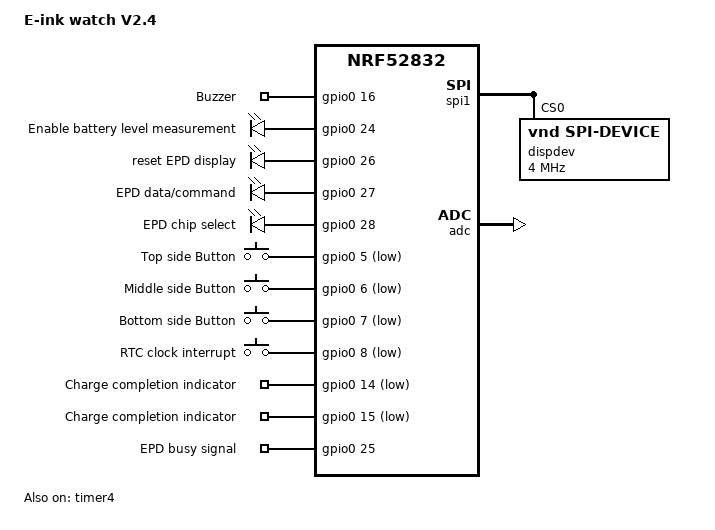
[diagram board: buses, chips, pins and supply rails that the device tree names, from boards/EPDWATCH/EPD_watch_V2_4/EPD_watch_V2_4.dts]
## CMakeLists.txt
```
cmake_minimum_required(VERSION 3.20.0)
find_package(Zephyr REQUIRED HINTS $ENV{ZEPHYR_BASE})

project(watch)

FILE(GLOB app_sources include/*.h)
target_include_directories(app PRIVATE include)

target_sources(app PRIVATE 
        src/main.cpp
        src/display.cpp
        src/display_font.cpp
        src/display_shapes.cpp
        src/io.cpp
        src/pages.cpp
)
```

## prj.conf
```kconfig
CONFIG_GPIO=y
CONFIG_I2C=y
CONFIG_SPI=y
CONFIG_NRFX_GPIOTE=y

CONFIG_LOG=y
CONFIG_USE_SEGGER_RTT=y
CONFIG_RTT_CONSOLE=y
CONFIG_LOG_DEFAULT_LEVEL=3
```

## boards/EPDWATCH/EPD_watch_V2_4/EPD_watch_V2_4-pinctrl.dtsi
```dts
&pinctrl
{
    spi1_default: spi1_default
    {
        group1
        {
            psels = <NRF_PSEL(SPIM_SCK,  0, 29)>,
                    <NRF_PSEL(SPIM_MOSI, 0, 30)>,
                    <NRF_PSEL(SPIM_MISO, 0, 22)>;
        };
    };

    spi1_sleep: spi1_sleep
    {
        group1
        {
            psels = <NRF_PSEL(SPIM_SCK,  0, 29)>,
                    <NRF_PSEL(SPIM_MOSI, 0, 30)>,
                    <NRF_PSEL(SPIM_MISO, 0, 22)>;
            low-power-enable;
        };
    };

	i2c0_default: i2c0_default
	{
		group1
		{
			psels = <NRF_PSEL(TWIM_SDA, 0, 11)>,
					<NRF_PSEL(TWIM_SCL, 0, 12)>;
		};
	};

	i2c0_sleep: i2c0_sleep
	{
		group1
		{
			psels = <NRF_PSEL(TWIM_SDA, 0, 11)>,
					<NRF_PSEL(TWIM_SCL, 0, 12)>;
			low-power-enable;
		};
	};
};
```

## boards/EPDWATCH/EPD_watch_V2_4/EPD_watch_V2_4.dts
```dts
/dts-v1/;

#include <nordic/nrf52832_qfaa.dtsi>
#include "EPD_watch_V2_4-pinctrl.dtsi"
#include <zephyr/dt-bindings/input/input-event-codes.h>

/ {
	model = "E-ink watch V2.4";
	compatible = "EPDWATCH,EPD-watch-V2-4";

	chosen
	{
		zephyr,sram = &sram0;
		zephyr,flash = &flash0;
		zephyr,code-partition = &slot0_partition;
	};

	leds
	{
		compatible = "gpio-leds";

		buzzer: buzzer
		{
			gpios = <&gpio0 16 (GPIO_PUSH_PULL & GPIO_ACTIVE_HIGH)>;
			label = "Buzzer";
		};

		batt_lvl_en: batt_lvl_en
		{
			gpios = <&gpio0 24 (GPIO_PUSH_PULL & GPIO_ACTIVE_HIGH)>;
			label = "Enable battery level measurement";
		};

		disp_rst: disp_rst
		{
			gpios = <&gpio0 26 (GPIO_PUSH_PULL & GPIO_ACTIVE_HIGH)>;
			label = "reset EPD display";
		};

		disp_dc: disp_dc
		{
			gpios = <&gpio0 27 (GPIO_PUSH_PULL & GPIO_ACTIVE_HIGH)>;
			label = "EPD data/command";
		};


		disp_cs: disp_cs
		{
			gpios = <&gpio0 28 (GPIO_PUSH_PULL & GPIO_ACTIVE_HIGH)>;
			label = "EPD chip select";
		};
	};

    buttons
	{
        compatible = "gpio-keys";

        btn_up: btn_up
		{
            gpios = <&gpio0 5 (GPIO_PULL_UP | GPIO_ACTIVE_LOW)>;
            label = "Top side Button";
        };

        btn_mid: btn_mid
		{
            gpios = <&gpio0 6 (GPIO_PULL_UP | GPIO_ACTIVE_LOW)>;
            label = "Middle side Button";
        };

        btn_dwn: btn_dwn
		{
            gpios = <&gpio0 7 (GPIO_PULL_UP | GPIO_ACTIVE_LOW)>;
            label = "Bottom side Button";
        };



        rtc_int: rtc_int
		{
            gpios = <&gpio0 8 (GPIO_PULL_UP | GPIO_ACTIVE_LOW)>;
            label = "RTC clock interrupt";
        };

        chrg_complete: chrg_complete
		{
            gpios = <&gpio0 14 (GPIO_PULL_UP | GPIO_ACTIVE_LOW)>;
            label = "Charge completion indicator";
        };

        chrg_active: chrg_active
		{
            gpios = <&gpio0 15 (GPIO_PULL_UP | GPIO_ACTIVE_LOW)>;
            label = "Charge completion indicator";
        };



        disp_busy: disp_busy
		{
            gpios = <&gpio0 25 (GPIO_ACTIVE_HIGH)>;
            label = "EPD busy signal";
        };
    };
};

&gpiote
{
	status = "okay";
};

&gpio0
{
	status = "okay";
};

&spi1
{
    status = "okay";
    pinctrl-0 = <&spi1_default>;
    pinctrl-1 = <&spi1_sleep>;
    pinctrl-names = "default", "sleep";

    dispdev: dispdev@0
    {
        compatible = "vnd,spi-device";
        reg = <0>;
    	spi-max-frequency = <4000000>;
    };
};

&timer4
{
	status = "okay";
};

&adc
{
	compatible = "nordic,nrf-saadct";
	status = "okay";
	timer-instance = <&timer4>;
	#address-cells = <1>;
	#size-cells = <0>;
};

&flash0
{
	partitions
	{
		#address-cells = <1>;
		#size-cells = <1>;
		ranges;

		boot_partition: partition@0
		{
			compatible = "zephyr,mapped-partition";
			label = "mcuboot";
			reg = <0x0 DT_SIZE_K(48)>;
		};

		slot0_partition: partition@c000
		{
			compatible = "zephyr,mapped-partition";
			label = "image-0";
			reg = <0xc000 DT_SIZE_K(220)>;
		};

		slot1_partition: partition@43000
		{
			compatible = "zephyr,mapped-partition";
			label = "image-1";
			reg = <0x43000 DT_SIZE_K(220)>;
		};

		storage_partition: partition@7a000
		{
			compatible = "zephyr,mapped-partition";
			label = "storage";
			reg = <0x7a000 DT_SIZE_K(24)>;
		};
	};
};
```

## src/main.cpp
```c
#include "display.hpp"
#include "io.hpp"

#include <zephyr/kernel.h>

#include <zephyr/logging/log.h>
LOG_MODULE_REGISTER(main);

int main(void)
{
    LOG_INF("Watch turned on");
    Display disp;
    if (!disp.bootup_check()) {return -1;}

    while(true)
    {
        k_msleep(1000);
        LOG_INF("Watch loop");
        disp.prep_clean_update();
        disp.wake();
        disp.update();
        disp.sleep();
        k_msleep(10000);
    }

    return 0;
}
```

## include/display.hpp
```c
#ifndef _DISPLAY_HPP_
#define _DISPLAY_HPP_

#include <string.h>
#include <zephyr/types.h>

enum Anchor 
{
    AnchorLeft,
    AnchorCenter,
    AnchorRight
}; 

enum Direction 
{
    DirUp,
    DirRight,
    DirDown,
    DirLeft
}; 

#define SIZE 200
#define BUFFSIZE SIZE*((SIZE+7)/8)
#define MAX_LOOPS 200


class Display 
{
public:
    Display();
    bool bootup_check();

    bool wake();
    void sleep();
    bool update();

    void prep_clean_update();

    // uint16_t get_text_width(const char* text, uint8_t scale);
    // bool draw_text(const char* text, uint8_t x, uint8_t y, uint8_t scale, Anchor anchor);

    // bool draw_line(uint8_t x1, uint8_t y1, uint8_t x2, uint8_t y2);
    // bool draw_rect(uint8_t x, uint8_t y, uint8_t x2, uint8_t y2);
    // bool draw_arrow(uint8_t x, uint8_t y, uint8_t scale, Direction arrow_dir);


private:
    void set_bit(uint16_t index, uint8_t bit_index);
    bool get_bit(uint16_t index, uint8_t bit_index);
    bool wait_busy();

    bool send_cmd(uint8_t cmd);
    bool send_data_byte(uint8_t data);
    bool send_data_buffer(const uint8_t* data, uint16_t size);

    uint8_t get_letter_width(char letter);
    uint16_t get_letter_buff_index(char letter);
    
    static uint8_t buffer_a[BUFFSIZE];
    static uint8_t buffer_b[BUFFSIZE];
    static uint8_t* buffer_curr;
    static uint8_t* buffer_old;
    bool sleeping;
    bool initialized;
    bool clean_update;
};

#endif
```

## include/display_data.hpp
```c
#ifndef _DISPLAY_DATA_HPP_
#define _DISPLAY_DATA_HPP_

const uint8_t LUT_ARR_DC[56] =
{
    0x01, 0x04, 0x04, 0x03, 0x01, 0x01, 0x01, 0x00, 0x00, 0x00, 0x00, 0x00, 
    0x01, 0x00, 0x00, 0x00, 0x00, 0x00, 0x00, 0x00, 0x00, 0x00, 0x00, 0x00, 
    0x00, 0x00, 0x00, 0x00, 0x00, 0x00, 0x00, 0x00, 0x00, 0x00, 0x00, 0x00, 
    0x00, 0x00, 0x00, 0x00, 0x00, 0x00, 0x00, 0x00, 0x00, 0x00, 0x00, 0x00, 
    0x00, 0x00, 0x00, 0x00, 0x00, 0x00, 0x00, 0x00,
};

const uint8_t LUT_ARR_WW[42] =
{
    0x01, 0x04, 0x04, 0x03, 0x01, 0x01, 0x01, 0x00, 0x00, 0x00, 0x00, 0x00, 
    0x00, 0x00, 0x00, 0x00, 0x00, 0x00, 0x00, 0x00, 0x00, 0x00, 0x00, 0x00, 
    0x00, 0x00, 0x00, 0x00, 0x00, 0x00, 0x00, 0x00, 0x00, 0x00, 0x00, 0x00, 
    0x00, 0x00, 0x00, 0x00, 0x00, 0x00, 
};

const uint8_t LUT_ARR_BW[56] =
{
    0x01, 0x84, 0x84, 0x83, 0x01, 0x01, 0x01, 0x00, 0x00, 0x00, 0x00, 0x00, 
    0x00, 0x00, 0x00, 0x00, 0x00, 0x00, 0x00, 0x00, 0x00, 0x00, 0x00, 0x00, 
    0x00, 0x00, 0x00, 0x00, 0x00, 0x00, 0x00, 0x00, 0x00, 0x00, 0x00, 0x00, 
    0x00, 0x00, 0x00, 0x00, 0x00, 0x00, 0x00, 0x00, 0x00, 0x00, 0x00, 0x00, 
    0x00, 0x00, 0x00, 0x00, 0x00, 0x00, 0x00, 0x00, 
};

const uint8_t LUT_ARR_WB[56] =
{
    0x01, 0x44, 0x44, 0x43, 0x01, 0x01, 0x01, 0x00, 0x00, 0x00, 0x00, 0x00, 
    0x00, 0x00, 0x00, 0x00, 0x00, 0x00, 0x00, 0x00, 0x00, 0x00, 0x00, 0x00, 
    0x00, 0x00, 0x00, 0x00, 0x00, 0x00, 0x00, 0x00, 0x00, 0x00, 0x00, 0x00, 
    0x00, 0x00, 0x00, 0x00, 0x00, 0x00, 0x00, 0x00, 0x00, 0x00, 0x00, 0x00, 
    0x00, 0x00, 0x00, 0x00, 0x00, 0x00, 0x00, 0x00, 
};

const uint8_t LUT_ARR_BB[56] =
{
    0x01, 0x04, 0x04, 0x03, 0x01, 0x01, 0x01, 0x00, 0x00, 0x00, 0x00, 0x00, 
    0x00, 0x00, 0x00, 0x00, 0x00, 0x00, 0x00, 0x00, 0x00, 0x00, 0x00, 0x00, 
    0x00, 0x00, 0x00, 0x00, 0x00, 0x00, 0x00, 0x00, 0x00, 0x00, 0x00, 0x00, 
    0x00, 0x00, 0x00, 0x00, 0x00, 0x00, 0x00, 0x00, 0x00, 0x00, 0x00, 0x00, 
    0x00, 0x00, 0x00, 0x00, 0x00, 0x00, 0x00, 0x00, 
};

// GDEW0154M09 commands
    #define PANEL_SETTING            0x00
    #define POWER_SETTING            0x01 // not used
    #define POWER_OFF                0x02
    #define POWER_OFF_SEQ_SETTING    0x03 // not used
    #define POWER_ON                 0x04
    #define POWER_ON_MEASURE         0x05 // not used
    #define BOOSTER_SOFT_START       0x06 // not used
    #define DEEP_SLEEP               0x07
    #define DATA_TRANSMISSION_1      0x10
    #define DATA_STOP                0x11 // not used
    #define DISPLAY_REFRESH          0x12
    #define DATA_TRANSMISSION_2      0x13
    #define AUTO_SEQUENCE            0x17 // not used
    #define LUT_VCOM                 0x20
    #define LUT_WW                   0x21
    #define LUT_BW                   0x22
    #define LUT_WB                   0x23
    #define LUT_BB                   0x24
    #define LUT_OPTION               0x2A // not used
    #define PLL_CONTROL              0x30 // not used
    #define TEMP_SENSOR_CALLIBRATION 0x40 // not used
    #define TEMP_SENSOR_SELECT       0x41 // not used
    #define TEMP_SENSOR_WRITE        0x42 // not used
    #define TEMP_SENSOR_READ         0x43 // not used
    #define PANEL_BREAK_CHECK        0x44 // not used
    #define VCOM_DATA_INTERVAL       0x50
    #define LOWER_POWER_DETECT       0x51 // not used
    #define TCON_SETTING             0x60
    #define RESOLUTION_SETTING       0x61
    #define GATE_SOURCE_START        0x65 // not used
    #define REVISION                 0x70 // not used
    #define GET_STATUS               0x71 // not used
    #define AUTO_MEASURE_VCOM        0x80 // not used
    #define VCOM_VALUE               0x81 // not used
    #define VCOM_DC_SETTINGS         0x82 // not used
    #define PARTIAL_WINDOW           0x90 // not used
    #define PARTIAL_IN               0x91 // not used
    #define PARTIAL_OUT              0x92 // not used
    #define PROGRAM_MODE             0xA0 // not used
    #define ACTIVE_PROGRAMMING       0xA1 // not used
    #define READ_OTP_DATA            0xA2 // not used
    #define CASCADE_SETTING          0xE0 // not used
    #define POWER_SAVING             0xE3
    #define LVD_VOLTAGE_SELECT       0xE4 // not used
    #define FORCE_TEMP               0xE5 // not used

#endif
```

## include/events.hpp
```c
enum Event 
{
    None,
    Minute,
    Alarm,
    
    BtnUp,
    BtnMid,
    BtnDown,

    BattChrgStart,
    BattChrgFull,
    BattChrgEnd
}; 
```

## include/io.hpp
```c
#ifndef _IO_HPP_
#define _IO_HPP_

#include "events.hpp"

class IO 
{
public:
    IO();
    ~IO();

    Event wait_for_event();
    Event wait_For_event_ms();
    bool buffer_has_ev();
private:

};

#endif
```

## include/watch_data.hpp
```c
#ifndef _WATCH_DATA_HPP_
#define _WATCH_DATA_HPP_

#include <time.h>


enum AlarmMode 
{
    Off,
    Once,
    Daily,
    Weekly,
}; 

enum StateStopWatch 
{
    Started,
    Paused,
    Stopped,
};

struct 
{
    tm start,

    // alarm data
    bool dateset_alarm,
    AlarmMode mode,
    uint8_t alarm_dow,
    uint8_t alarm_hour,
    uint8_t alarm_minute,

    // stopwatch data
    StopwatchState stopwatch_state,
    tm stopwatch_starttime,
    tm laps[4],
    uint8_t lap_index,

    // battery data
    uint8_t batt_level,
    bool is_charging,
} WatchData;

#endif
```

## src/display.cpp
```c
#include "display.hpp"
#include "display_data.hpp"

#include <zephyr/kernel.h>
#include <zephyr/drivers/gpio.h>
#include <zephyr/drivers/spi.h>
#include <utility>

#include <zephyr/logging/log.h>
LOG_MODULE_REGISTER(disp);

#define CONFIG  SPI_WORD_SET(8) | SPI_OP_MODE_MASTER | SPI_TRANSFER_MSB
struct spi_dt_spec spi_dev = SPI_DT_SPEC_GET(DT_NODELABEL(dispdev), CONFIG);

static const struct gpio_dt_spec pin_disp_rst = GPIO_DT_SPEC_GET(DT_NODELABEL(disp_rst), gpios);
static const struct gpio_dt_spec pin_disp_dc = GPIO_DT_SPEC_GET(DT_NODELABEL(disp_dc), gpios);
static const struct gpio_dt_spec pin_disp_cs = GPIO_DT_SPEC_GET(DT_NODELABEL(disp_cs), gpios);
static const struct gpio_dt_spec pin_disp_busy = GPIO_DT_SPEC_GET(DT_NODELABEL(disp_busy), gpios);

uint8_t Display::buffer_a[BUFFSIZE];
uint8_t Display::buffer_b[BUFFSIZE];
uint8_t* Display::buffer_curr = Display::buffer_a;
uint8_t* Display::buffer_old = Display::buffer_b;

Display::Display()//: spi_dev(dev)
{

    memset(buffer_curr, 0xFF, BUFFSIZE);
    memset(buffer_old, 0xFF, BUFFSIZE);

    sleeping = true;
    clean_update = true;
}

bool Display::bootup_check()
{
    if (!spi_is_ready_dt(&spi_dev)) 
    {
        LOG_ERR("Display SPI not ready!");
        return false;
    }

	bool ret_rst = gpio_is_ready_dt(&pin_disp_rst);
	bool ret_dc = gpio_is_ready_dt(&pin_disp_dc);
	bool ret_cs = gpio_is_ready_dt(&pin_disp_cs);
	bool ret_busy = gpio_is_ready_dt(&pin_disp_busy);

    if(!ret_rst || !ret_dc || !ret_cs || !ret_busy)
    {
        LOG_ERR("Display IO pins not ready! (rst=%i, dc=%i, cs=%i, busy=%i)",
                                        ret_rst, ret_dc, ret_cs, ret_busy);
        return false; 
    }

    int err_rst = gpio_pin_configure_dt(&pin_disp_rst, GPIO_OUTPUT_INACTIVE);
    int err_dc = gpio_pin_configure_dt(&pin_disp_dc, GPIO_OUTPUT_INACTIVE);
    int err_cs = gpio_pin_configure_dt(&pin_disp_cs, GPIO_OUTPUT_INACTIVE);
    int err_busy = gpio_pin_configure_dt(&pin_disp_busy, GPIO_INPUT);

    if(err_rst != 0 || err_dc != 0 || err_cs != 0 || err_busy != 0)
    {
        LOG_ERR("Unable to configure display IO pins! (rst=%i, dc=%i, cs=%i, busy=%i)",
                                        err_rst, err_dc, err_cs, err_busy);
        return false; 
    }

    return true;
}

/////////////////////////////////////////////////

bool Display::wake()
{
    bool init_finished = false;

    while(!init_finished)
    {
        gpio_pin_set_dt(&pin_disp_rst, 0);
        k_msleep(10);
        gpio_pin_set_dt(&pin_disp_rst, 1);
        k_msleep(10);

        send_cmd(PANEL_SETTING);
        if(clean_update) {send_data_byte(0xdf);}
        else {send_data_byte(0xff);}
        
        send_data_byte(0x0e);
        send_cmd(0x4d);
        send_data_byte(0x55);
        send_cmd(0xaa);
        send_data_byte(0x0f);
        send_cmd(0xe9);
        send_data_byte(0x02);
        send_cmd(0xb6);
        send_data_byte(0x11);
        send_cmd(0xf3);
        send_data_byte(0x0a);
        send_cmd(RESOLUTION_SETTING);
        send_data_byte(0xc8);
        send_data_byte(0x00);
        send_data_byte(0xc8);
        send_cmd(TCON_SETTING);
        send_data_byte(0x00);
        send_cmd(VCOM_DATA_INTERVAL);
        send_data_byte(0x97);
        send_cmd(POWER_SAVING);
        send_data_byte(0x00);

        if(!clean_update)
        {
            send_cmd(LUT_VCOM);
            send_data_buffer(LUT_ARR_DC, 56);
            send_cmd(LUT_WW);
            send_data_buffer(LUT_ARR_WW, 42);
            send_cmd(LUT_BW);
            send_data_buffer(LUT_ARR_BW, 56);
            send_cmd(LUT_WB);
            send_data_buffer(LUT_ARR_WB, 56);
            send_cmd(LUT_BB);
            send_data_buffer(LUT_ARR_BB, 56);
        }
        else 
        {
            clean_update = false;
        }
        
        send_cmd(POWER_ON);
        init_finished = wait_busy();
        if (!init_finished) {continue;}
        sleeping = false;
    }

    return true;
}

void Display::sleep()
{
    sleeping = true;
    send_cmd(POWER_OFF);

    wait_busy();
    k_msleep(10);
    send_cmd(DEEP_SLEEP);
    send_data_byte(0xA5);
}

bool Display::update()
{
    bool is_updated = false;

    while(!is_updated)
    {
        if(sleeping) {wake();}

        if (!send_cmd(DATA_TRANSMISSION_2) ||
            !send_data_buffer(buffer_old, BUFFSIZE))
        {
            LOG_ERR("Update error: unable to send old frame");
            return false;
        }

        if (!send_cmd(DATA_TRANSMISSION_1) ||
            !send_data_buffer(buffer_curr, BUFFSIZE))
        {
            LOG_ERR("Update error: unable to send new frame");
            return false;
        }

        send_cmd(DISPLAY_REFRESH);
        is_updated = wait_busy();
        if (!is_updated)
        {
            sleeping = true;
            clean_update = true;
            LOG_WRN("Busy wait timeout, trying again.");
            continue;
        }

        std::swap(buffer_curr, buffer_old);
        memset(buffer_curr, 0x0, BUFFSIZE);
        return true;
    }

    return false;
}

void Display::prep_clean_update()
{
    clean_update = true;
}

/////////////////////////////////////////////////

bool Display::wait_busy()
{
    uint16_t loop_cnt = 0;
    k_msleep(10);

    while(!gpio_pin_get_dt(&pin_disp_busy))
    {
        k_msleep(25);
        loop_cnt++;

        if(loop_cnt > MAX_LOOPS) {return false;}
    }

    return true;
}

bool Display::send_cmd(uint8_t cmd)
{
    gpio_pin_set_dt(&pin_disp_cs, 0);
    gpio_pin_set_dt(&pin_disp_dc, 0);

    uint8_t arr_cmd[] = {cmd};
    struct spi_buf buff_cmd = {.buf = arr_cmd, .len = 1};
    struct spi_buf_set set_cmd = {.buffers = &buff_cmd, .count = 1};

    int err = spi_write_dt(&spi_dev, &set_cmd);
    if (err) 
    {   
        LOG_ERR("SPI write error during cmd. (%i)", err);
        return false; 
    }

    gpio_pin_set_dt(&pin_disp_cs, 1);
    return true;
}

bool Display::send_data_byte(uint8_t data)
{
    uint8_t arr_data[] = {data};
    return send_data_buffer(arr_data, 1);
}

bool Display::send_data_buffer(const uint8_t* data, uint16_t size)
{
    gpio_pin_set_dt(&pin_disp_cs, 0);
    gpio_pin_set_dt(&pin_disp_dc, 1);
    
    struct spi_buf buff_data = {.buf = const_cast<uint8_t *>(data), .len = size};
    struct spi_buf_set set_data = {.buffers = &buff_data, .count = 1};

    int err = spi_write_dt(&spi_dev, &set_data);
    if (err) 
    {   
        LOG_ERR("SPI write error during ddata. (%i)", err);
        return false; 
    }

    gpio_pin_set_dt(&pin_disp_cs, 1);
    return true;
}
```
